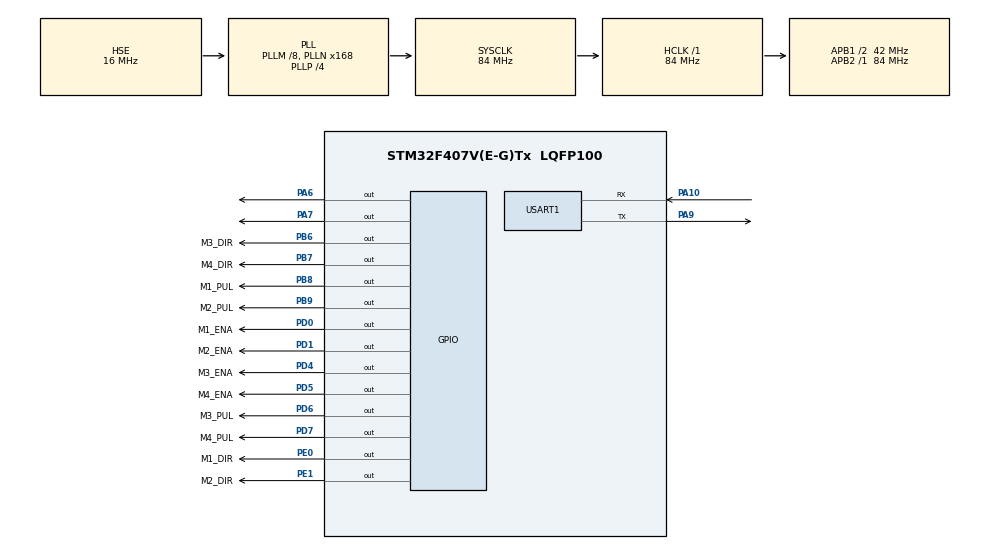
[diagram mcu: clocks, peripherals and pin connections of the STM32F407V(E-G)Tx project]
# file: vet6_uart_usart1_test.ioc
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Mcu.Family=STM32F4
Mcu.Name=STM32F407V(E-G)Tx
Mcu.Package=LQFP100
NVIC.PriorityGroup=NVIC_PRIORITYGROUP_4
NVIC.TIM1_TRG_COM_TIM11_IRQn=true\:0\:0\:false\:false\:true\:true\:true\:true
NVIC.TIM1_UP_TIM10_IRQn=true\:0\:0\:false\:false\:true\:true\:true\:true
NVIC.TIM8_TRG_COM_TIM14_IRQn=true\:0\:0\:false\:false\:true\:true\:true\:true
NVIC.TIM8_UP_TIM13_IRQn=true\:0\:0\:false\:false\:true\:true\:true\:true
NVIC.USART1_IRQn=true\:0\:0\:false\:false\:true\:true\:true\:true
PA10.Mode=Asynchronous
PA10.Signal=USART1_RX
PA13.Mode=Serial_Wire
PA13.Signal=SYS_JTMS-SWDIO
PA14.Mode=Serial_Wire
PA14.Signal=SYS_JTCK-SWCLK
PA6.Signal=GPIO_Output
PA7.Signal=GPIO_Output
PA9.Mode=Asynchronous
PA9.Signal=USART1_TX
PB6.GPIO_Label=M3_DIR
PB6.Signal=GPIO_Output
PB7.GPIO_Label=M4_DIR
PB7.Signal=GPIO_Output
PB8.GPIO_Label=M1_PUL
PB8.Signal=GPIO_Output
PB9.GPIO_Label=M2_PUL
PB9.Signal=GPIO_Output
PD0.GPIO_Label=M1_ENA
PD0.Signal=GPIO_Output
PD1.GPIO_Label=M2_ENA
PD1.Signal=GPIO_Output
PD4.GPIO_Label=M3_ENA
PD4.Signal=GPIO_Output
PD5.GPIO_Label=M4_ENA
PD5.Signal=GPIO_Output
PD6.GPIO_Label=M3_PUL
PD6.Signal=GPIO_Output
PD7.GPIO_Label=M4_PUL
PD7.Signal=GPIO_Output
PE0.GPIO_Label=M1_DIR
PE0.Signal=GPIO_Output
PE1.GPIO_Label=M2_DIR
PE1.Signal=GPIO_Output
PH0-OSC_IN.Mode=HSE-External-Oscillator
PH0-OSC_IN.Signal=RCC_OSC_IN
PH1-OSC_OUT.Mode=HSE-External-Oscillator
PH1-OSC_OUT.Signal=RCC_OSC_OUT
ProjectManager.HeapSize=0x200
ProjectManager.StackSize=0x400
ProjectManager.TargetToolchain=STM32CubeIDE
RCC.48MHZClocksFreq_Value=84000000
RCC.AHBFreq_Value=84000000
RCC.APB1CLKDivider=RCC_HCLK_DIV2
RCC.APB1Freq_Value=42000000
RCC.APB1TimFreq_Value=84000000
RCC.APB2Freq_Value=84000000
RCC.APB2TimFreq_Value=84000000
RCC.CortexFreq_Value=84000000
RCC.HCLKFreq_Value=84000000
RCC.HSE_VALUE=16000000
RCC.HSI_VALUE=16000000
RCC.LSE_VALUE=32768
RCC.PLLM=8
RCC.PLLN=168
RCC.PLLP=RCC_PLLP_DIV4
RCC.PLLSourceVirtual=RCC_PLLSOURCE_HSE
RCC.SYSCLKFreq_VALUE=84000000
RCC.SYSCLKSource=RCC_SYSCLKSOURCE_PLLCLK
RCC.VCOOutputFreq_Value=336000000
TIM10.AutoReloadPreload=TIM_AUTORELOAD_PRELOAD_ENABLE
TIM10.Period=9
TIM10.Prescaler=8399
TIM11.AutoReloadPreload=TIM_AUTORELOAD_PRELOAD_ENABLE
TIM11.Period=9
TIM11.Prescaler=8399
TIM13.AutoReloadPreload=TIM_AUTORELOAD_PRELOAD_ENABLE
TIM13.Period=9
TIM13.Prescaler=8399
TIM14.AutoReloadPreload=TIM_AUTORELOAD_PRELOAD_ENABLE
TIM14.Period=9
TIM14.Prescaler=8399
USART1.VirtualMode=VM_ASYNC
VP_TIM10_VS_ClockSourceINT.Mode=Enable_Timer
VP_TIM11_VS_ClockSourceINT.Mode=Enable_Timer
VP_TIM13_VS_ClockSourceINT.Mode=Enable_Timer
VP_TIM14_VS_ClockSourceINT.Mode=Enable_Timer
board=custom

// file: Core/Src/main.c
/* USER CODE BEGIN Header */
/**
  ******************************************************************************
  * @file           : main.c
  * @brief          : Main program body
  ******************************************************************************
  * @attention
  *
  * Copyright (c) 2025 STMicroelectronics.
  * All rights reserved.
  *
  * This software is licensed under terms that can be found in the LICENSE file
  * in the root directory of this software component.
  * If no LICENSE file comes with this software, it is provided AS-IS.
  *
  ******************************************************************************
  */
/* USER CODE END Header */
#include "main.h"

TIM_HandleTypeDef htim10;
TIM_HandleTypeDef htim11;
TIM_HandleTypeDef htim13;
TIM_HandleTypeDef htim14;

UART_HandleTypeDef huart1;

/* USER CODE BEGIN PV */

volatile uint32_t s1_c = 3000;
volatile uint32_t s2_c = 3000;
volatile uint32_t s3_c = 3000;
volatile uint32_t s4_c = 3000;

/* USER CODE END PV */

void SystemClock_Config(void);
static void MX_GPIO_Init(void);
static void MX_USART1_UART_Init(void);
static void MX_TIM10_Init(void);
static void MX_TIM11_Init(void);
static void MX_TIM13_Init(void);
static void MX_TIM14_Init(void);

int main(void)
{

  /* USER CODE BEGIN 1 */
//	uint8_t str_t[MAX_DATA_SIZE] = "Subhanalloh\n";
	uint8_t rec_buf[MAX_DATA_SIZE] = {0};
	uint8_t str_r[MAX_DATA_SIZE] = {0};
	uint8_t enter[4] = "\n\t";
	int rec_flag = 0;
	uint32_t i = 0;

  /* USER CODE END 1 */

  /* MCU Configuration--------------------------------------------------------*/

  /* Reset of all peripherals, Initializes the Flash interface and the Systick. */
  HAL_Init();

  /* Configure the system clock */
  SystemClock_Config();

  /* Initialize all configured peripherals */
  MX_GPIO_Init();
  MX_USART1_UART_Init();
  MX_TIM10_Init();
  MX_TIM11_Init();
  MX_TIM13_Init();
  MX_TIM14_Init();
  /* USER CODE BEGIN 2 */
  HAL_UART_Receive_IT(&huart1, rec_buf, 8);
  HAL_Delay(Max_Delay);
  HAL_UART_Transmit(&huart1, enter, MAX_DATA_SIZE, Timeout);
  HAL_GPIO_WritePin(GPIOA, GPIO_PIN_6, 1);
  HAL_GPIO_WritePin(GPIOA, GPIO_PIN_7, 1);
  HAL_GPIO_WritePin(M1_ENA_GPIO_Port, M1_ENA_Pin, SET);
  HAL_GPIO_WritePin(M2_ENA_GPIO_Port, M2_ENA_Pin, SET);
  HAL_GPIO_WritePin(M3_ENA_GPIO_Port, M3_ENA_Pin, SET);
  HAL_GPIO_WritePin(M4_ENA_GPIO_Port, M4_ENA_Pin, SET);
  HAL_TIM_Base_Start_IT(&htim10); //Buni keyin callback yoki interruptning ichiga olish shart!
  HAL_TIM_Base_Start_IT(&htim11); //Buni keyin callback yoki interruptning ichiga olish shart!
  HAL_TIM_Base_Start_IT(&htim13); //Buni keyin callback yoki interruptning ichiga olish shart!
  HAL_TIM_Base_Start_IT(&htim14); //Buni keyin callback yoki interruptning ichiga olish shart!
  /* USER CODE END 2 */

  /* Infinite loop */
  /* USER CODE BEGIN WHILE */
  while (1)
  {

	  if(s1_c == 0){
		  HAL_TIM_Base_Stop_IT(&htim10);
		  HAL_GPIO_WritePin(M1_ENA_GPIO_Port, M1_ENA_Pin, SET);
	  }
	  if(s2_c == 0){
		  HAL_TIM_Base_Stop_IT(&htim11);
		  HAL_GPIO_WritePin(M2_ENA_GPIO_Port, M2_ENA_Pin, SET);
	  }
	  if(s3_c == 0){
		  HAL_TIM_Base_Stop_IT(&htim13);
		  HAL_GPIO_WritePin(M3_ENA_GPIO_Port, M3_ENA_Pin, SET);
	  }
	  if(s4_c == 0){
		  HAL_TIM_Base_Stop_IT(&htim14);
		  HAL_GPIO_WritePin(M4_ENA_GPIO_Port, M4_ENA_Pin, SET);
	  }
	if(huart1.RxXferCount == 0){
		rec_flag = 1;
		HAL_UART_Receive_IT(&huart1, rec_buf, 8);
		for( i=0; i<8; i++){
			str_r[i]=rec_buf[i];
		}
	}

	if(rec_flag==1){
		HAL_Delay(2);
		HAL_UART_Transmit(&huart1, rec_buf, MAX_DATA_SIZE, Timeout);
		if (str_r[0] == '1') {
			HAL_GPIO_WritePin(GPIOA, GPIO_PIN_6, 0);
			HAL_Delay(Max_Delay);
			HAL_GPIO_WritePin(GPIOA, GPIO_PIN_6, 1);
		}
		else if(str_r[0] == '0'){
			HAL_GPIO_WritePin(GPIOA, GPIO_PIN_7, 0);
			HAL_Delay(Max_Delay);
			HAL_GPIO_WritePin(GPIOA, GPIO_PIN_7, 1);
		}
//		HAL_Delay(Medium_Delay);
		rec_flag = 0;
	}
//	HAL_UART_Transmit(&uart, str_t, MAX_DATA_SIZE, Timeout);
//	HAL_Delay(Max_Delay);

    /* USER CODE END WHILE */

  }
}

void SystemClock_Config(void)
{
  RCC_OscInitTypeDef RCC_OscInitStruct = {0};
  RCC_ClkInitTypeDef RCC_ClkInitStruct = {0};

  /** Configure the main internal regulator output voltage
  */
  __HAL_RCC_PWR_CLK_ENABLE();
  __HAL_PWR_VOLTAGESCALING_CONFIG(PWR_REGULATOR_VOLTAGE_SCALE1);

  /** Initializes the RCC Oscillators according to the specified parameters
  * in the RCC_OscInitTypeDef structure.
  */
  RCC_OscInitStruct.OscillatorType = RCC_OSCILLATORTYPE_HSE;
  RCC_OscInitStruct.HSEState = RCC_HSE_ON;
  RCC_OscInitStruct.PLL.PLLState = RCC_PLL_ON;
  RCC_OscInitStruct.PLL.PLLSource = RCC_PLLSOURCE_HSE;
  RCC_OscInitStruct.PLL.PLLM = 8;
  RCC_OscInitStruct.PLL.PLLN = 168;
  RCC_OscInitStruct.PLL.PLLP = RCC_PLLP_DIV4;
  RCC_OscInitStruct.PLL.PLLQ = 4;
  if (HAL_RCC_OscConfig(&RCC_OscInitStruct) != HAL_OK)
  {
    Error_Handler();
  }

  /** Initializes the CPU, AHB and APB buses clocks
  */
  RCC_ClkInitStruct.ClockType = RCC_CLOCKTYPE_HCLK|RCC_CLOCKTYPE_SYSCLK
                              |RCC_CLOCKTYPE_PCLK1|RCC_CLOCKTYPE_PCLK2;
  RCC_ClkInitStruct.SYSCLKSource = RCC_SYSCLKSOURCE_PLLCLK;
  RCC_ClkInitStruct.AHBCLKDivider = RCC_SYSCLK_DIV1;
  RCC_ClkInitStruct.APB1CLKDivider = RCC_HCLK_DIV2;
  RCC_ClkInitStruct.APB2CLKDivider = RCC_HCLK_DIV1;

  if (HAL_RCC_ClockConfig(&RCC_ClkInitStruct, FLASH_LATENCY_2) != HAL_OK)
  {
    Error_Handler();
  }
}

static void MX_TIM10_Init(void)
{

  htim10.Instance = TIM10;
  htim10.Init.Prescaler = 8399;
  htim10.Init.CounterMode = TIM_COUNTERMODE_UP;
  htim10.Init.Period = 9;
  htim10.Init.ClockDivision = TIM_CLOCKDIVISION_DIV1;
  htim10.Init.AutoReloadPreload = TIM_AUTORELOAD_PRELOAD_ENABLE;
  if (HAL_TIM_Base_Init(&htim10) != HAL_OK)
  {
    Error_Handler();
  }

}

static void MX_TIM11_Init(void)
{

  htim11.Instance = TIM11;
  htim11.Init.Prescaler = 8399;
  htim11.Init.CounterMode = TIM_COUNTERMODE_UP;
  htim11.Init.Period = 9;
  htim11.Init.ClockDivision = TIM_CLOCKDIVISION_DIV1;
  htim11.Init.AutoReloadPreload = TIM_AUTORELOAD_PRELOAD_ENABLE;
  if (HAL_TIM_Base_Init(&htim11) != HAL_OK)
  {
    Error_Handler();
  }

}

static void MX_TIM13_Init(void)
{

  htim13.Instance = TIM13;
  htim13.Init.Prescaler = 8399;
  htim13.Init.CounterMode = TIM_COUNTERMODE_UP;
  htim13.Init.Period = 9;
  htim13.Init.ClockDivision = TIM_CLOCKDIVISION_DIV1;
  htim13.Init.AutoReloadPreload = TIM_AUTORELOAD_PRELOAD_ENABLE;
  if (HAL_TIM_Base_Init(&htim13) != HAL_OK)
  {
    Error_Handler();
  }

}

static void MX_TIM14_Init(void)
{

  htim14.Instance = TIM14;
  htim14.Init.Prescaler = 8399;
  htim14.Init.CounterMode = TIM_COUNTERMODE_UP;
  htim14.Init.Period = 9;
  htim14.Init.ClockDivision = TIM_CLOCKDIVISION_DIV1;
  htim14.Init.AutoReloadPreload = TIM_AUTORELOAD_PRELOAD_ENABLE;
  if (HAL_TIM_Base_Init(&htim14) != HAL_OK)
  {
    Error_Handler();
  }

}

static void MX_USART1_UART_Init(void)
{

  huart1.Instance = USART1;
  huart1.Init.BaudRate = 115200;
  huart1.Init.WordLength = UART_WORDLENGTH_8B;
  huart1.Init.StopBits = UART_STOPBITS_1;
  huart1.Init.Parity = UART_PARITY_NONE;
  huart1.Init.Mode = UART_MODE_TX_RX;
  huart1.Init.HwFlowCtl = UART_HWCONTROL_NONE;
  huart1.Init.OverSampling = UART_OVERSAMPLING_16;
  if (HAL_UART_Init(&huart1) != HAL_OK)
  {
    Error_Handler();
  }

}

static void MX_GPIO_Init(void)
{
  GPIO_InitTypeDef GPIO_InitStruct = {0};

  /* GPIO Ports Clock Enable */
  __HAL_RCC_GPIOH_CLK_ENABLE();
  __HAL_RCC_GPIOA_CLK_ENABLE();
  __HAL_RCC_GPIOD_CLK_ENABLE();
  __HAL_RCC_GPIOB_CLK_ENABLE();
  __HAL_RCC_GPIOE_CLK_ENABLE();

  /*Configure GPIO pin Output Level */
  HAL_GPIO_WritePin(GPIOA, GPIO_PIN_6|GPIO_PIN_7, GPIO_PIN_RESET);

  /*Configure GPIO pin Output Level */
  HAL_GPIO_WritePin(GPIOD, M1_ENA_Pin|M2_ENA_Pin|M3_ENA_Pin|M4_ENA_Pin
                          |M3_PUL_Pin|M4_PUL_Pin, GPIO_PIN_RESET);

  /*Configure GPIO pin Output Level */
  HAL_GPIO_WritePin(GPIOB, M3_DIR_Pin|M4_DIR_Pin|M1_PUL_Pin|M2_PUL_Pin, GPIO_PIN_RESET);

  /*Configure GPIO pin Output Level */
  HAL_GPIO_WritePin(GPIOE, M1_DIR_Pin|M2_DIR_Pin, GPIO_PIN_RESET);

  /*Configure GPIO pins : PA6 PA7 */
  GPIO_InitStruct.Pin = GPIO_PIN_6|GPIO_PIN_7;
  GPIO_InitStruct.Mode = GPIO_MODE_OUTPUT_PP;
  GPIO_InitStruct.Pull = GPIO_NOPULL;
  GPIO_InitStruct.Speed = GPIO_SPEED_FREQ_LOW;
  HAL_GPIO_Init(GPIOA, &GPIO_InitStruct);

  /*Configure GPIO pins : M1_ENA_Pin M2_ENA_Pin M3_ENA_Pin M4_ENA_Pin
                           M3_PUL_Pin M4_PUL_Pin */
  GPIO_InitStruct.Pin = M1_ENA_Pin|M2_ENA_Pin|M3_ENA_Pin|M4_ENA_Pin
                          |M3_PUL_Pin|M4_PUL_Pin;
  GPIO_InitStruct.Mode = GPIO_MODE_OUTPUT_PP;
  GPIO_InitStruct.Pull = GPIO_NOPULL;
  GPIO_InitStruct.Speed = GPIO_SPEED_FREQ_LOW;
  HAL_GPIO_Init(GPIOD, &GPIO_InitStruct);

  /*Configure GPIO pins : M3_DIR_Pin M4_DIR_Pin M1_PUL_Pin M2_PUL_Pin */
  GPIO_InitStruct.Pin = M3_DIR_Pin|M4_DIR_Pin|M1_PUL_Pin|M2_PUL_Pin;
  GPIO_InitStruct.Mode = GPIO_MODE_OUTPUT_PP;
  GPIO_InitStruct.Pull = GPIO_NOPULL;
  GPIO_InitStruct.Speed = GPIO_SPEED_FREQ_LOW;
  HAL_GPIO_Init(GPIOB, &GPIO_InitStruct);

  /*Configure GPIO pins : M1_DIR_Pin M2_DIR_Pin */
  GPIO_InitStruct.Pin = M1_DIR_Pin|M2_DIR_Pin;
  GPIO_InitStruct.Mode = GPIO_MODE_OUTPUT_PP;
  GPIO_InitStruct.Pull = GPIO_NOPULL;
  GPIO_InitStruct.Speed = GPIO_SPEED_FREQ_LOW;
  HAL_GPIO_Init(GPIOE, &GPIO_InitStruct);

}

/* USER CODE BEGIN 4 */
//bool zero(uint8_t* buffer, size_t len)
//{
//    for (size_t i = 0; i < len; i++)
//    {
//        if (buffer[i] != 0)
//            return false;  // Nollik emas, buning uchun 0 ga teng bo'lishi kerak edi
//    }
//    return true; // Barcha elementlar 0
//}

/* USER CODE END 4 */

void Error_Handler(void)
{
  __disable_irq();
  while (1)
  {
  }
}
